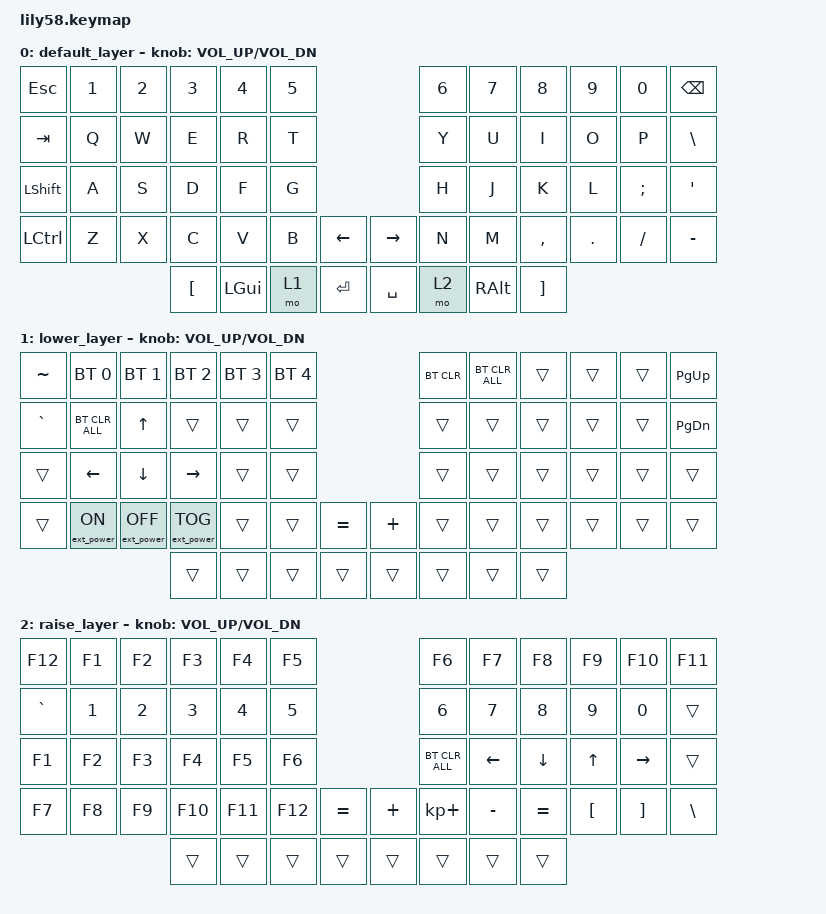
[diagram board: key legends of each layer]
/*
 * Copyright (c) 2020 The ZMK Contributors
 *
 * SPDX-License-Identifier: MIT
 */

#include <behaviors.dtsi>
#include <dt-bindings/zmk/keys.h>
#include <dt-bindings/zmk/bt.h>
#include <dt-bindings/zmk/ext_power.h>

/ {
	keymap {
		compatible = "zmk,keymap";

		default_layer {
// ------------------------------------------------------------------------------------------------------------
// |  ESC  |  1  |  2  |  3   |  4   |  5   |                   |  6   |  7    |  8    |  9   |   0   |  BSPC |
// |  TAB  |  Q  |  W  |  E   |  R   |  T   |                   |  Y   |  U    |  I    |  O   |   P   |   \   |
// | SHIFT |  A  |  S  |  D   |  F   |  G   |                   |  H   |  J    |  K    |  L   |   ;   |   '   |
// |  CTRL |  Z  |  X  |  C   |  V   |  B   |  LEFT  |  | RIGHT |  N   |  M    |  ,    |  .   |   /   |   -   |
//                     | "["  | GUI  | LOWER|  ENTER |  | SPACE | RAISE| ALT  | "]"   |
			bindings = <
&kp ESC   &kp N1 &kp N2 &kp N3   &kp N4   &kp N5                     &kp N6 &kp N7   &kp N8    &kp N9  &kp N0   &kp BSPC
&kp TAB   &kp Q  &kp W  &kp E    &kp R    &kp T                      &kp Y  &kp U    &kp I     &kp O   &kp P    &kp BSLH
&kp LSHFT &kp A  &kp S  &kp D    &kp F    &kp G                      &kp H  &kp J    &kp K     &kp L   &kp SEMI &kp SQT
&kp LCTRL &kp Z  &kp X  &kp C    &kp V    &kp B  &kp LEFT   &kp RIGHT &kp N  &kp M    &kp COMMA &kp DOT &kp FSLH &kp MINUS
                        &kp LBKT &kp LGUI &mo 1  &kp RET    &kp SPACE  &mo 2  &kp RALT &kp RBKT
			>;

			sensor-bindings = <&inc_dec_kp C_VOL_UP C_VOL_DN>;
		};

		lower_layer {
// ------------------------------------------------------------------------------------------------------------
// |   ~   | BT1 | BT2 |  BT3 |  BT4 |  BT5 |                   |      |       |       |      |       |       |
// |   `   |  F2 |  UP |  F4  |  F5  |  F6  |                   |  F7  |  F8   |  F9   |  F10 |  F11  |  F12  |
// |   `   |LEFT |DOWN |RIGHT |  $   |  %   |                   |  ^   |  &    |  *    |  (   |   )   |   ~   |
// |       |     |     |      |      |      |  EQUAL |  | PLUS  |      |  _    |  +    |  {   |   }   |  "|"  |
//                     |      |      |      |        |  |       |      |       |       |
			bindings = <
&kp TILDE &bt BT_SEL 0 &bt BT_SEL 1 &bt BT_SEL 2 &bt BT_SEL 3 &bt BT_SEL 4  &bt BT_CLR &bt BT_CLR_ALL &trans &trans &trans &kp PG_UP
&kp GRAVE &bt BT_CLR_ALL &kp UP       &trans    &trans       &trans       &trans &trans &trans &trans &trans &kp PG_DN
&trans  &kp LEFT    &kp DOWN     &kp RIGHT    &trans   &trans         	&trans &trans &trans &trans &trans &trans
&trans &ext_power EP_ON &ext_power EP_OFF &ext_power EP_TOG &trans &trans &kp EQUAL       &kp PLUS &trans &trans &trans &trans &trans &trans
           				&trans	&trans	&trans	&trans		&trans	&trans	&trans	&trans
			>;

			sensor-bindings = <&inc_dec_kp C_VOL_UP C_VOL_DN>;
		};

		raise_layer {
// ------------------------------------------------------------------------------------------------------------
// |   F12 |  F1 |  F2 |  F3  |  F4  |  F5  |                   |  F6  |   F7  |   F8  |  F9  |  F10  |  F11  |
// |   `   |  1  |  2  |  3   |  4   |  5   |                   |  6   |   7   |   8   |  9   |   0   |       |
// |   F1  |  F2 |  F3 |  F4  |  F5  |  F6  |                   |      |   <-  |   v   |  ^   |  ->   |       |
// |   F7  |  F8 |  F9 |  F10 |  F11 |  F12 |        |  |       |  +   |   -   |   =   |  [   |   ]   |   \   |
//                     |      |      |      |        |  |       |      |       |       |
			bindings = <
&kp F12   &kp F1 &kp F2 &kp F3  &kp F4  &kp F5                       &kp F6      &kp F7    &kp F8    &kp F9   &kp F10  &kp F11
&kp GRAVE &kp N1 &kp N2 &kp N3  &kp N4  &kp N5                       &kp N6      &kp N7    &kp N8    &kp N9   &kp N0    &trans
&kp F1    &kp F2 &kp F3 &kp F4  &kp F5  &kp F6                       &bt BT_CLR_ALL  &kp LEFT  &kp DOWN  &kp UP   &kp RIGHT &trans
&kp F7    &kp F8 &kp F9 &kp F10 &kp F11 &kp F12   &kp EQUAL &kp PLUS    &kp KP_PLUS &kp MINUS &kp EQUAL &kp LBKT &kp RBKT  &kp BSLH
                        &trans  &trans  &trans    &trans   &trans    &trans      &trans    &trans
			>;

			sensor-bindings = <&inc_dec_kp C_VOL_UP C_VOL_DN>;
		};
	};
};
